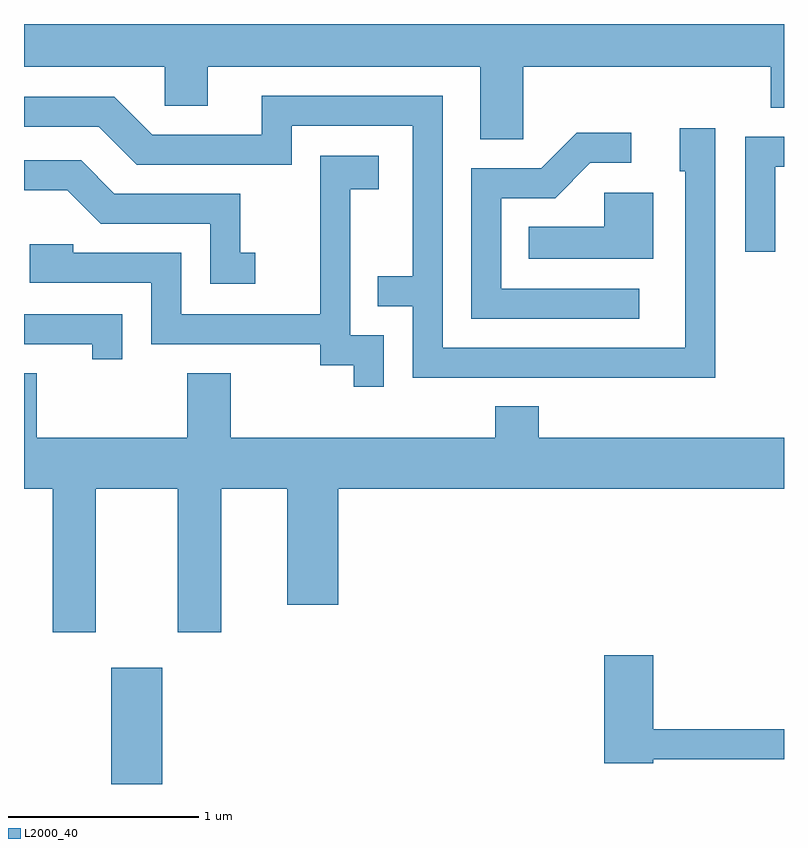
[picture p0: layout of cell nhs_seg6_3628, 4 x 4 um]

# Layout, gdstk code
import gdstk
lib = gdstk.Library(unit=1e-6, precision=1e-09)
def R(c, l, rs):  # rectangles x0, y0, x1, y1
    for r in rs: c.add(gdstk.rectangle(r[:2], r[2:], *l))
def P(c, l, *ps):  # polygons
    for p in ps: c.add(gdstk.Polygon(p, *l))
L2000_40 = (2000, 40)

nhs_seg6_3628 = lib.new_cell('nhs_seg6_3628')
R(nhs_seg6_3628, L2000_40, [(294.071,1646.162,294.339,1646.774)])
P(nhs_seg6_3628, L2000_40, [(296.239,1649.936),(297.541,1649.936),(297.541,1649.721),(297.611,1649.721),(297.611,1650.162),(293.611,1650.162),(293.611,1649.936),(294.351,1649.936),(294.351,1649.731),(294.579,1649.731),(294.579,1649.936),(296.011,1649.936),(296.011,1649.556),(296.239,1649.556)],
  [(297.249,1649.614),(297.061,1649.614),(297.061,1649.386),(297.091,1649.386),(297.091,1648.459),(295.814,1648.459),(295.814,1649.784),(294.861,1649.784),(294.861,1649.579),(294.287,1649.579),(294.087,1649.779),(293.611,1649.779),(293.611,1649.621),(294.004,1649.621),(294.204,1649.421),(295.019,1649.421),(295.019,1649.626),(295.656,1649.626),(295.656,1648.834),(295.473,1648.834),(295.473,1648.676),(295.656,1648.676),(295.656,1648.301),(297.249,1648.301)],
  [(296.848,1648.769),(296.124,1648.769),(296.124,1649.246),(296.407,1649.246),(296.592,1649.431),(296.808,1649.431),(296.808,1649.589),(296.519,1649.589),(296.334,1649.404),(295.966,1649.404),(295.966,1648.611),(296.848,1648.611)],
  [(297.564,1649.411),(297.611,1649.411),(297.611,1649.569),(297.406,1649.569),(297.406,1648.963),(297.564,1648.963)],
  [(295.504,1648.524),(295.329,1648.524),(295.329,1649.291),(295.479,1649.291),(295.479,1649.469),(295.171,1649.469),(295.171,1648.634),(294.439,1648.634),(294.439,1648.959),(293.869,1648.959),(293.869,1649.004),(293.641,1649.004),(293.641,1648.801),(294.281,1648.801),(294.281,1648.476),(295.171,1648.476),(295.171,1648.366),(295.346,1648.366),(295.346,1648.253),(295.504,1648.253)],
  [(294.828,1648.959),(294.749,1648.959),(294.749,1649.269),(294.087,1649.269),(293.912,1649.444),(293.611,1649.444),(293.611,1649.286),(293.839,1649.286),(294.014,1649.111),(294.591,1649.111),(294.591,1648.796),(294.828,1648.796)],
  [(296.924,1649.274),(296.666,1649.274),(296.666,1649.094),(296.268,1649.094),(296.268,1648.926),(296.924,1648.926)],
  [(294.129,1648.634),(293.611,1648.634),(293.611,1648.476),(293.971,1648.476),(293.971,1648.398),(294.129,1648.398)],
  [(293.989,1647.716),(294.421,1647.716),(294.421,1646.961),(294.649,1646.961),(294.649,1647.716),(294.996,1647.716),(294.996,1647.106),(295.264,1647.106),(295.264,1647.716),(297.611,1647.716),(297.611,1647.984),(296.319,1647.984),(296.319,1648.149),(296.091,1648.149),(296.091,1647.984),(294.699,1647.984),(294.699,1648.324),(294.471,1648.324),(294.471,1647.984),(293.679,1647.984),(293.679,1648.324),(293.611,1648.324),(293.611,1647.716),(293.761,1647.716),(293.761,1646.961),(293.989,1646.961)],
  [(296.924,1646.291),(297.611,1646.291),(297.611,1646.449),(296.924,1646.449),(296.924,1646.839),(296.666,1646.839),(296.666,1646.271),(296.924,1646.271)])

lib.write_gds('nhs_seg6_3628.gds')
